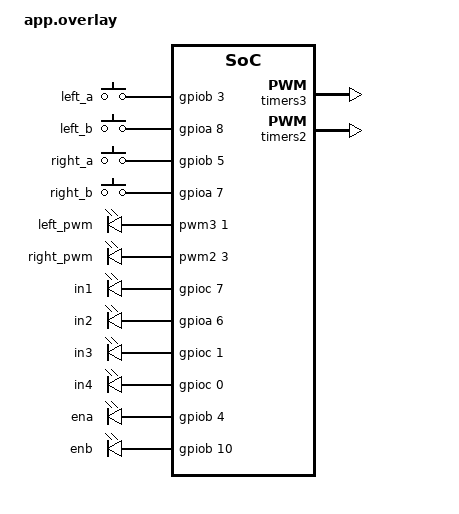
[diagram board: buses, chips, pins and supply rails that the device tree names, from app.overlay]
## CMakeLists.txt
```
cmake_minimum_required(VERSION 3.20.0)
find_package(Zephyr REQUIRED HINTS $ENV{ZEPHYR_BASE})
project(motor_bench)
target_sources(app PRIVATE src/main.c src/bench_control.c src/bench_encoders.c src/velocity_control.c)
# Startup and HOLD diagnostic profiles are fixed per image; PID controls duty at runtime.
set(MOTOR_TEST_DUTY "60" CACHE STRING "Startup-test duty percent, 1..100")
if(NOT MOTOR_TEST_DUTY MATCHES "^[1-9][0-9]?$|^100$")
  message(FATAL_ERROR "MOTOR_TEST_DUTY must be an integer from 1 to 100")
endif()
target_compile_definitions(app PRIVATE BENCH_DUTY_PERCENT=${MOTOR_TEST_DUTY}U)
set(MOTOR_HOLD_DUTY "55" CACHE STRING "Holding-test duty percent, 1..100")
if(NOT MOTOR_HOLD_DUTY MATCHES "^[1-9][0-9]?$|^100$")
  message(FATAL_ERROR "MOTOR_HOLD_DUTY must be an integer from 1 to 100")
endif()
set(MOTOR_HOLD_MS "2000" CACHE STRING "Holding-test limit, 2000 or 4000 ms")
if(NOT MOTOR_HOLD_MS MATCHES "^(2000|4000)$")
  message(FATAL_ERROR "MOTOR_HOLD_MS must be 2000 or 4000")
endif()
target_compile_definitions(app PRIVATE BENCH_HOLD_PERCENT=${MOTOR_HOLD_DUTY}U
                                       BENCH_HOLD_MS=${MOTOR_HOLD_MS})
```

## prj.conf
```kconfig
CONFIG_GPIO=y
CONFIG_PWM=y
# PID math and telemetry conversion run in separate threads on the Cortex-M4F.
CONFIG_FPU=y
CONFIG_FPU_SHARING=y
CONFIG_SERIAL=y
CONFIG_UART_INTERRUPT_DRIVEN=y
CONFIG_CONSOLE=y
CONFIG_UART_CONSOLE=y
CONFIG_PRINTK=y
CONFIG_MAIN_STACK_SIZE=2048
# Lower scheduling precedence than the priority-2 motor cutoff thread.
CONFIG_MAIN_THREAD_PRIORITY=5
CONFIG_I2C=n
CONFIG_SPI=n
CONFIG_ADC=n
CONFIG_INPUT=n
```

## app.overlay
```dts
#include <zephyr/dt-bindings/gpio/gpio.h>
#include <zephyr/dt-bindings/pwm/pwm.h>

/ {
    encoder_inputs {
        compatible = "gpio-keys";
        left_a: left_a { gpios = <&gpiob 3 GPIO_PULL_UP>; };
        left_b: left_b { gpios = <&gpioa 8 GPIO_PULL_UP>; };
        right_a: right_a { gpios = <&gpiob 5 GPIO_PULL_UP>; };
        right_b: right_b { gpios = <&gpioa 7 GPIO_PULL_UP>; };
    };
    bench_pwm {
        compatible = "pwm-leds";
        left_pwm: left { pwms = <&pwm3 1 PWM_USEC(100) PWM_POLARITY_NORMAL>; };
        right_pwm: right { pwms = <&pwm2 3 PWM_USEC(100) PWM_POLARITY_NORMAL>; };
    };
    bench_gpio {
        compatible = "gpio-leds";
        in1: in1 { gpios = <&gpioc 7 GPIO_ACTIVE_HIGH>; };
        in2: in2 { gpios = <&gpioa 6 GPIO_ACTIVE_HIGH>; };
        in3: in3 { gpios = <&gpioc 1 GPIO_ACTIVE_HIGH>; };
        in4: in4 { gpios = <&gpioc 0 GPIO_ACTIVE_HIGH>; };
        ena: ena { gpios = <&gpiob 4 GPIO_ACTIVE_HIGH>; };
        enb: enb { gpios = <&gpiob 10 GPIO_ACTIVE_HIGH>; };
    };
};

/* Only ST-LINK USART2 is used. Release encoder pins from other peripherals;
 * leave the servo signal alone. */
&usart1 { status = "disabled"; };
&i2c1 { status = "disabled"; };
&i2c3 { status = "disabled"; };
&spi1 { status = "disabled"; };
&spi2 { status = "disabled"; };
&adc1 { status = "disabled"; };

/* Internal pulldowns apply only once pinctrl initializes: not reset protection. */
&tim3_ch1_pb4 { bias-pull-down; };
&tim2_ch3_pb10 { bias-pull-down; };

&timers3 {
    status = "okay";
    pwm3: pwm {
        status = "okay";
        pinctrl-0 = <&tim3_ch1_pb4>;
        pinctrl-names = "default";
    };
};
&timers2 {
    status = "okay";
    pwm2: pwm {
        status = "okay";
        pinctrl-0 = <&tim2_ch3_pb10>;
        pinctrl-names = "default";
    };
};
```

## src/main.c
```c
#include <errno.h>
#include <string.h>
#include <zephyr/drivers/gpio.h>
#include <zephyr/drivers/pwm.h>
#include <zephyr/drivers/uart.h>
#include <zephyr/kernel.h>
#include <zephyr/sys/atomic.h>
#include <zephyr/sys/printk.h>
#include "bench_control.h"
#include "bench_encoders.h"

#define CONTROL_PRIORITY 2
BUILD_ASSERT(CONFIG_MAIN_THREAD_PRIORITY > CONTROL_PRIORITY,
             "Console must run below the motor cutoff thread priority");

static const struct pwm_dt_spec pwms[] = {
    PWM_DT_SPEC_GET(DT_NODELABEL(left_pwm)),
    PWM_DT_SPEC_GET(DT_NODELABEL(right_pwm)),
};
static const struct gpio_dt_spec directions[] = {
    GPIO_DT_SPEC_GET(DT_NODELABEL(in1), gpios),
    GPIO_DT_SPEC_GET(DT_NODELABEL(in2), gpios),
    GPIO_DT_SPEC_GET(DT_NODELABEL(in3), gpios),
    GPIO_DT_SPEC_GET(DT_NODELABEL(in4), gpios),
};
static const struct gpio_dt_spec enables[] = {
    GPIO_DT_SPEC_GET(DT_NODELABEL(ena), gpios),
    GPIO_DT_SPEC_GET(DT_NODELABEL(enb), gpios),
};
/* NUCLEO-F401RE B1 is sw0 / PC13, active low in the board devicetree. */
static const struct gpio_dt_spec user_button = GPIO_DT_SPEC_GET(DT_ALIAS(sw0), gpios);
static struct gpio_callback button_callback;
static atomic_t button_latched;
static int button_level;
static const struct device *const console = DEVICE_DT_GET(DT_CHOSEN(zephyr_console));

struct command { char text[16]; int64_t received_ms; };
K_MSGQ_DEFINE(commands, sizeof(struct command), 4, 8);
K_MSGQ_DEFINE(rx_bytes, sizeof(unsigned char), 128, 1);
static atomic_t rx_failed;
static atomic_t stop_requested;
static atomic_t hardware_fault;
static atomic_t accepted;
static atomic_t rejected;
static struct k_spinlock snapshot_lock;
enum sample_stage { SAMPLE_OFF, SAMPLE_PULSE, SAMPLE_KICK, SAMPLE_HOLD, SAMPLE_PID };
static const char *const phase_names[] = {"IDLE", "ARMED", "LEFT", "RIGHT", "BOTH"};
static struct {
    enum bench_phase phase;
    enum sample_stage stage;
    struct bench_output output;
    struct bench_encoder_sample encoder;
    int fault;
    unsigned target_rpm;
    struct velocity_control velocity;
} reported;

/* F401 USART has no deep RX FIFO: sleeping/polling loses a burst at 115200.
 * Capture every byte in the ISR; parse and print only from the main thread. */
static void console_rx(const struct device *dev, void *user_data)
{
    ARG_UNUSED(user_data);
    while (uart_irq_update(dev) && uart_irq_rx_ready(dev)) {
        unsigned char byte;
        int count = uart_fifo_read(dev, &byte, 1);
        if (count <= 0) {
            if (count < 0) {
                atomic_set(&rx_failed, 1);
                atomic_set(&stop_requested, 1);
            }
            break;
        }
        if (!atomic_get(&rx_failed) &&
            k_msgq_put(&rx_bytes, &byte, K_NO_WAIT) != 0) {
            atomic_set(&rx_failed, 1);
            atomic_set(&stop_requested, 1);
        }
    }
    if (uart_err_check(dev)) {
        atomic_set(&rx_failed, 1);
        atomic_set(&stop_requested, 1);
    }
}

/* Capture even a short B1 press. The priority-2 thread also polls its level. */
static void button_pressed(const struct device *dev, struct gpio_callback *cb, uint32_t pins)
{
    ARG_UNUSED(dev); ARG_UNUSED(cb); ARG_UNUSED(pins);
    atomic_set(&button_latched, 1);
}

/* Arm B1 before starting the motor thread; failure leaves the enables low. */
static int button_init(void)
{
    if (!gpio_is_ready_dt(&user_button)) { return -ENODEV; }
    int ret = gpio_pin_configure_dt(&user_button, GPIO_INPUT | GPIO_PULL_UP);
    if (ret < 0) { return ret; }
    gpio_init_callback(&button_callback, button_pressed, BIT(user_button.pin));
    ret = gpio_add_callback(user_button.port, &button_callback);
    if (ret < 0) { return ret; }
    return gpio_pin_interrupt_configure_dt(&user_button, GPIO_INT_EDGE_TO_ACTIVE);
}

/* On a HAL failure latch the test off. Reclaim enable pins as GPIO-low too;
 * never resume PWM after this until reboot. Returns an error if this also fails. */
static int force_off(void)
{
    int first_error = 0;
    for (size_t i = 0; i < ARRAY_SIZE(enables); ++i) {
        int ret = gpio_pin_configure_dt(&enables[i], GPIO_OUTPUT_INACTIVE);
        if (ret < 0 && first_error == 0) { first_error = ret; }
    }
    for (size_t i = 0; i < ARRAY_SIZE(directions); ++i) {
        int ret = gpio_pin_configure_dt(&directions[i], GPIO_OUTPUT_INACTIVE);
        if (ret < 0 && first_error == 0) { first_error = ret; }
    }
    return first_error;
}

static int outputs_init(void)
{
    for (size_t i = 0; i < ARRAY_SIZE(enables); ++i) {
        if (!gpio_is_ready_dt(&enables[i]) || !pwm_is_ready_dt(&pwms[i])) {
            return -ENODEV;
        }
    }
    /* PWM pinctrl has already selected the timer alternate functions. */
    int first_error = 0;
    for (size_t i = 0; i < ARRAY_SIZE(pwms); ++i) {
        int ret = pwm_set_dt(&pwms[i], pwms[i].period, 0);
        if (ret < 0 && first_error == 0) { first_error = ret; }
    }
    for (size_t i = 0; i < ARRAY_SIZE(directions); ++i) {
        if (!gpio_is_ready_dt(&directions[i])) { return -ENODEV; }
        int ret = gpio_pin_configure_dt(&directions[i], GPIO_OUTPUT_INACTIVE);
        if (ret < 0 && first_error == 0) { first_error = ret; }
    }
    return first_error;
}

static int apply_output(struct bench_output output)
{
    /* Disable both channels before changing any direction state. */
    int first_error = 0;
    for (size_t i = 0; i < ARRAY_SIZE(pwms); ++i) {
        int ret = pwm_set_dt(&pwms[i], pwms[i].period, 0);
        if (ret < 0 && first_error == 0) { first_error = ret; }
    }
    if (first_error) { return first_error; }
    /* Settle for one 10 kHz period before direction changes. */
    k_busy_wait(100);
    /* Forward polarities: reverse LEFT relative to the original raw test. */
    int values[] = {0, output.left_percent ? 1 : 0,
                    output.right_percent ? 1 : 0, 0};
    for (size_t i = 0; i < ARRAY_SIZE(directions); ++i) {
        int ret = gpio_pin_set_dt(&directions[i], values[i]);
        if (ret < 0) { return ret; }
    }
    float duties[] = {output.left_percent, output.right_percent};
    for (size_t i = 0; i < ARRAY_SIZE(pwms); ++i) {
        if (duties[i]) {
            int ret = pwm_set_dt(&pwms[i], pwms[i].period,
                                 (uint32_t)((float)pwms[i].period * duties[i] / 100.0f));
            if (ret < 0) { return ret; }
        }
    }
    return 0;
}

static void control_thread(void *a, void *b, void *c)
{
    ARG_UNUSED(a); ARG_UNUSED(b); ARG_UNUSED(c);
    struct bench_control control;
    struct bench_output applied = {0, 0};
    bench_init(&control);

    for (;;) {
        int pressed = gpio_pin_get_dt(&user_button);
        if (pressed < 0) { atomic_cas(&hardware_fault, 0, pressed); }
        if (pressed > 0) { atomic_set(&button_latched, 1); }
        bench_button_update(&control, atomic_get(&button_latched) != 0);
        if (atomic_get(&button_latched)) { k_msgq_purge(&commands); }
        if (atomic_set(&stop_requested, 0)) {
            (void)bench_command(&control, "STOP", k_uptime_get());
            k_msgq_purge(&commands);
        }
        struct command cmd;
        /* Keep observing coast-down even when a motion fault is latched. */
        struct bench_encoder_sample sample;
        int read_ret = bench_encoders_read(&sample);
        int64_t now = k_uptime_get();
        if (read_ret < 0 || sample.invalid[0] || sample.invalid[1]) {
            atomic_cas(&hardware_fault, 0, read_ret < 0 ? read_ret : -EILSEQ);
        } else if (!atomic_get(&hardware_fault)) {
            bench_encoder_update(&control, sample.counts[0], sample.counts[1], sample.time_ms);
        }
        if (k_msgq_get(&commands, &cmd, K_NO_WAIT) == 0) {
            if (atomic_get(&hardware_fault) || now - cmd.received_ms > 250 ||
                !bench_command(&control, cmd.text, now)) {
                (void)bench_command(&control, "STOP", now);
                atomic_inc(&rejected);
            } else {
                atomic_inc(&accepted);
            }
        }
        int64_t tick_ms = k_uptime_get();
        /* Recheck the IRQ latch after command handling; queued commands cannot
         * re-enable an output after a button event. */
        bench_button_update(&control, atomic_get(&button_latched) != 0);
        struct bench_output output = bench_tick(&control, tick_ms);
        if (control.fault != BENCH_OK) {
            atomic_cas(&hardware_fault, 0, control.fault);
        }
        if (atomic_get(&hardware_fault)) {
            (void)bench_command(&control, "STOP", k_uptime_get());
            output = (struct bench_output){0, 0};
        }
        if (output.left_percent != applied.left_percent ||
            output.right_percent != applied.right_percent) {
            int ret = apply_output(output);
            if (ret < 0) {
                int off_ret = force_off();
                atomic_set(&hardware_fault, off_ret < 0 ? off_ret : ret);
                (void)bench_command(&control, "STOP", k_uptime_get());
                output = (struct bench_output){0, 0};
            }
            applied = output;
        }
        k_spinlock_key_t key = k_spin_lock(&snapshot_lock);
        reported.phase = control.phase;
        reported.output = applied;
        reported.encoder = sample;
        reported.fault = atomic_get(&hardware_fault);
        reported.stage = (control.phase == BENCH_IDLE || control.phase == BENCH_ARMED) ? SAMPLE_OFF :
            !(control.hold_test || control.pid_test) ? SAMPLE_PULSE :
            tick_ms < control.hold_at_ms ? SAMPLE_KICK : control.pid_test ? SAMPLE_PID : SAMPLE_HOLD;
        reported.target_rpm = control.target_rpm;
        reported.velocity = control.velocity;
        button_level = pressed;
        k_spin_unlock(&snapshot_lock, key);
        /* This high-priority thread never logs or waits on console input. */
        k_msleep(1);
    }
}
K_THREAD_DEFINE(control_tid, 2304, control_thread, NULL, NULL, NULL,
                CONTROL_PRIORITY, K_FP_REGS, SYS_FOREVER_MS);

static void status_print(void)
{
    k_spinlock_key_t key = k_spin_lock(&snapshot_lock);
    struct bench_output output = reported.output;
    enum bench_phase phase = reported.phase;
    int b1 = button_level;
    k_spin_unlock(&snapshot_lock, key);
    int pins[6];
    for (size_t i = 0; i < ARRAY_SIZE(directions); ++i) {
        pins[i] = gpio_pin_get_dt(&directions[i]);
    }
    pins[4] = gpio_pin_get_dt(&enables[0]);
    pins[5] = gpio_pin_get_dt(&enables[1]);
    for (size_t i = 0; i < ARRAY_SIZE(pins); ++i) {
        if (pins[i] < 0) {
            atomic_set(&hardware_fault, pins[i]);
            atomic_set(&stop_requested, 1);
        }
    }
    printk("MOTOR phase=%s left=%u right=%u in=%d%d%d%d en=%d%d "
           "fault=%ld accepted=%ld rejected=%ld\n", phase_names[phase],
           (unsigned)(output.left_percent + 0.5f), (unsigned)(output.right_percent + 0.5f),
           pins[0], pins[1], pins[2], pins[3], pins[4], pins[5],
           (long)atomic_get(&hardware_fault), (long)atomic_get(&accepted),
           (long)atomic_get(&rejected));
    printk("BUTTON b1=%d latched=%ld\n", b1, (long)atomic_get(&button_latched));
}

static void encoder_print(void)
{
    struct bench_encoder_sample sample;
    int ret = bench_encoders_read(&sample);
    if (ret < 0) {
        atomic_set(&hardware_fault, ret);
        atomic_set(&stop_requested, 1);
    }
    printk("ENC left=%ld right=%ld left_ab=%d%d right_ab=%d%d "
           "invalid_left=%u invalid_right=%u errors=%u\n",
           (long)sample.counts[0], (long)sample.counts[1],
           (sample.ab[0] >> 1) & 1, sample.ab[0] & 1,
           (sample.ab[1] >> 1) & 1, sample.ab[1] & 1,
           (unsigned)sample.invalid[0], (unsigned)sample.invalid[1],
           (unsigned)sample.errors);
}

/* A coherent control snapshot supplies MCU time, applied duty and raw counts.
 * No printing or host timestamps enter the high-priority cutoff loop. */
static void sample_print(void)
{
    static const char *const stages[] = {"OFF", "PULSE", "KICK", "HOLD", "PID"};
    k_spinlock_key_t key = k_spin_lock(&snapshot_lock);
    struct bench_encoder_sample encoder = reported.encoder;
    struct bench_output output = reported.output;
    enum bench_phase phase = reported.phase;
    enum sample_stage stage = reported.stage;
    int fault = reported.fault;
    unsigned target_rpm = reported.target_rpm;
    struct velocity_control velocity = reported.velocity;
    k_spin_unlock(&snapshot_lock, key);
    printk("SAMPLE t_ms=%lld stage=%s phase=%s left_pct=%u right_pct=%u "
           "left=%ld right=%ld invalid_left=%u invalid_right=%u errors=%u fault=%d\n",
           (long long)encoder.time_ms, stages[stage], phase_names[phase],
           (unsigned)(output.left_percent + 0.5f), (unsigned)(output.right_percent + 0.5f),
           (long)encoder.counts[0], (long)encoder.counts[1],
           (unsigned)encoder.invalid[0], (unsigned)encoder.invalid[1],
           (unsigned)encoder.errors, fault);
    if (target_rpm) {
        /* Milli-RPM and milli-percentage-points keep printf integer-only. Use
         * the estimator timestamp, not the newer raw SAMPLE timestamp. */
        printk("PID t_ms=%lld target=%u left_mrpm=%d right_mrpm=%d avg_mrpm=%d "
               "left_mduty=%d right_mduty=%d p=%d i=%d d=%d trim=%d\n",
               (long long)velocity.sample_ms, target_rpm,
               (int)(velocity.rpm[0] * 1000), (int)(velocity.rpm[1] * 1000),
               (int)(velocity.average_rpm * 1000),
               (int)(output.left_percent * 1000), (int)(output.right_percent * 1000),
               (int)(velocity.p_term * 1000), (int)(velocity.i_term * 1000),
               (int)(velocity.d_term * 1000), 0 /* Legacy trim field; no balancing controller. */);
    }
}

/* Report the compiled limits at boot and on STATUS before a host arms a test. */
static void profile_print(void)
{
    printk("MOTOR BENCH: idle at boot; 10kHz; one-shot %u%% / %dms.\n",
           BENCH_DUTY_PERCENT, BENCH_PULSE_MS);
    printk("HOLD BENCH: 10kHz; kick=%u%%/%dms hold=%u%%/%dms; LEFT/RIGHT/BOTH.\n",
           BENCH_KICK_PERCENT, BENCH_PULSE_MS, BENCH_HOLD_PERCENT, BENCH_HOLD_MS);
    printk("PID_PROFILE min_duty=%u max_duty=%u run_ms=%u sample_ms=%u cpr=%u "
           "kp_milli=%u ki_milli=%u kd_milli=%u filter_ms=%u stop=B1 motion_guard=0\n",
           (unsigned)VELOCITY_RUN_MIN_DUTY, (unsigned)VELOCITY_MAX_DUTY,
           BENCH_PID_MS, VELOCITY_PERIOD_MS, (unsigned)VELOCITY_COUNTS_PER_REV,
           (unsigned)(VELOCITY_KP * 1000 + 0.5f), (unsigned)(VELOCITY_KI * 1000 + 0.5f),
           (unsigned)(VELOCITY_KD * 1000 + 0.5f),
           (unsigned)(VELOCITY_FILTER_SECONDS * 1000 + 0.5f));
}

int main(void)
{
    int ret = outputs_init();
    if (ret < 0 || !device_is_ready(console)) {
        int off_ret = force_off();
        printk("ERROR motor initialization=%d emergency_gpio_off=%d\n", ret, off_ret);
        return ret < 0 ? ret : -ENODEV;
    }
    ret = button_init();
    if (ret < 0) {
        int off_ret = force_off();
        printk("ERROR B1 initialization=%d emergency_gpio_off=%d\n", ret, off_ret);
        return ret;
    }
    ret = bench_encoders_init();
    if (ret < 0) {
        int off_ret = force_off();
        printk("ERROR encoder initialization=%d emergency_gpio_off=%d\n", ret, off_ret);
        return ret;
    }
    ret = uart_irq_callback_user_data_set(console, console_rx, NULL);
    if (ret < 0) {
        int off_ret = force_off();
        printk("ERROR console RX setup=%d emergency_gpio_off=%d\n", ret, off_ret);
        return ret;
    }
    uart_irq_rx_enable(console);
    k_thread_start(control_tid);
    profile_print();
    printk("STARTUP/HOLD: per-wheel 150ms motion cutoff. PID: no motion cutoff or duration cap.\n");
    printk("SCHED control=%d console=%d (lower number runs first).\n",
           CONTROL_PRIORITY, CONFIG_MAIN_THREAD_PRIORITY);
    printk("Commands: STATUS, STOP, ARM then LEFT/RIGHT/BOTH, HOLDLEFT/HOLDRIGHT/HOLDBOTH or PID <positive integer RPM> within 5s; PID 0 stops.\n");
    printk("Forward bridge polarity: LEFT IN=01; RIGHT IN=10.\n");
    printk("PID runs continuously. B1 stops both and latches off until reset.\n");
    printk("Faults: 1=left-stall 2=right-stall 3=left-reversed 4=right-reversed 5=PID-data 6=B1-stop; negative=HAL/encoder.\n");
    printk("ENCODERS: raw x4 counts; calibrated forward signs left=-1 right=+1.\n");

    char line[16];
    size_t used = 0;
    bool discard = false;
    int64_t line_started = 0;
    int64_t next_report = 0;
    for (;;) {
        int64_t now = k_uptime_get();
        if ((used || discard) && now - line_started >= 1000) {
            used = 0;
            discard = false;
            atomic_set(&stop_requested, 1);
        }
        if (atomic_get(&rx_failed)) {
            k_msgq_purge(&rx_bytes);
            used = 0;
            discard = true;
            line_started = now;
            atomic_inc(&rejected);
            atomic_set(&stop_requested, 1);
            atomic_clear(&rx_failed);
        }
        /* Limit work per pass even if serial traffic is continuous. */
        for (unsigned i = 0; i < 32; ++i) {
            unsigned char ch;
            if (k_msgq_get(&rx_bytes, &ch, K_NO_WAIT) != 0) { break; }
            if (ch == '\r') { continue; }
            if (ch == '\n') {
                if (used && !discard) {
                    line[used] = '\0';
                    if (strcmp(line, "STOP") == 0 || strcmp(line, "PID 0") == 0) {
                        atomic_set(&stop_requested, 1);
                    } else if (strcmp(line, "STATUS") == 0) {
                        profile_print();
                    } else {
                        struct command cmd = {.received_ms = k_uptime_get()};
                        memcpy(cmd.text, line, used + 1);
                        if (k_msgq_put(&commands, &cmd, K_NO_WAIT) != 0) {
                            atomic_inc(&rejected);
                            atomic_set(&stop_requested, 1);
                        }
                    }
                }
                used = 0;
                discard = false;
            } else if (!discard) {
                if (!used) { line_started = k_uptime_get(); }
                if (ch < 32 || ch > 126 || used == sizeof(line) - 1) {
                    discard = true;
                    atomic_inc(&rejected);
                    atomic_set(&stop_requested, 1);
                } else {
                    line[used++] = (char)ch;
                }
            }
        }
        if (now >= next_report) {
            status_print();
            k_spinlock_key_t key = k_spin_lock(&snapshot_lock);
            bool pid_active = reported.target_rpm != 0;
            k_spin_unlock(&snapshot_lock, key);
            /* SAMPLE includes raw encoder diagnostics. Skip the redundant ENC
             * line during PID to leave room on the 115200-baud console. */
            if (!pid_active) { encoder_print(); }
            sample_print();
            /* Observe motion without delaying the priority-2 control thread. */
            next_report = now + 50;
        }
        k_msleep(1);
    }
}
```

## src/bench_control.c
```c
#include "bench_control.h"
#include <string.h>
#include <limits.h>

static bool powered(const struct bench_control *control, unsigned wheel)
{
    return control->phase == BENCH_BOTH ||
           control->phase == (wheel == 0 ? BENCH_LEFT : BENCH_RIGHT);
}

static void disarm(struct bench_control *control)
{
    control->phase = BENCH_IDLE;
    control->deadline_ms = 0;
    control->hold_test = false;
    control->pid_test = false;
    control->target_rpm = 0;
    velocity_init(&control->velocity, control->counts[0], control->counts[1], 0);
    control->hold_at_ms = 0;
}

static void trip(struct bench_control *control, enum bench_fault fault)
{
    control->fault = fault;
    disarm(control);
}

void bench_init(struct bench_control *control)
{
    *control = (struct bench_control){.phase = BENCH_IDLE};
}

struct bench_output bench_tick(struct bench_control *control, int64_t now_ms)
{
    if (control->fault != BENCH_OK ||
        (control->phase != BENCH_IDLE && !control->pid_test && now_ms >= control->deadline_ms)) {
        disarm(control);
    }
    for (unsigned i = 0; i < 2; ++i) {
        if (!control->pid_test && powered(control, i) && now_ms - control->progress_ms[i] >= BENCH_STALL_MS) {
            trip(control, i == 0 ? BENCH_LEFT_STALL : BENCH_RIGHT_STALL);
            break;
        }
    }
    if (control->pid_test) {
        if (now_ms < control->hold_at_ms) {
            return (struct bench_output){BENCH_KICK_PERCENT, BENCH_KICK_PERCENT};
        }
        return (struct bench_output){
            control->velocity.regulating ? control->velocity.command[0] : BENCH_KICK_PERCENT,
            control->velocity.regulating ? control->velocity.command[1] : BENCH_KICK_PERCENT,
        };
    }
    unsigned duty = control->hold_test ?
        (now_ms < control->hold_at_ms ? BENCH_KICK_PERCENT : BENCH_HOLD_PERCENT) :
        BENCH_DUTY_PERCENT;
    return (struct bench_output){
        .left_percent = powered(control, 0) ? duty : 0U,
        .right_percent = powered(control, 1) ? duty : 0U,
    };
}

void bench_encoder_update(struct bench_control *control, int32_t left,
                          int32_t right, int64_t now_ms)
{
    (void)bench_tick(control, now_ms);
    int32_t counts[] = {left, right};
    for (unsigned i = 0; i < 2; ++i) {
        control->counts[i] = counts[i];
        /* Manual PID load tests deliberately permit a held/backdriven wheel.
         * Retain motion cutoffs only for the startup/fixed-duty diagnostics. */
        if (!powered(control, i) || control->pid_test) {
            control->anchors[i] = counts[i];
            continue;
        }
        int64_t delta = (int64_t)counts[i] - control->anchors[i];
        int64_t forward = i == 0 ? -delta : delta;
        if (forward <= -BENCH_PROGRESS_COUNTS) {
            trip(control, i == 0 ? BENCH_LEFT_REVERSED : BENCH_RIGHT_REVERSED);
        } else if (forward >= BENCH_PROGRESS_COUNTS) {
            control->anchors[i] = counts[i];
            control->progress_ms[i] = now_ms;
        }
    }
    if (control->pid_test && velocity_update(&control->velocity, left, right,
            now_ms, (float)control->target_rpm, now_ms >= control->hold_at_ms) < 0) {
        trip(control, BENCH_VELOCITY_FAULT);
    }
}

void bench_button_update(struct bench_control *control, bool pressed)
{
    if (pressed && control->fault == BENCH_OK) { trip(control, BENCH_USER_STOP); }
}

bool bench_command(struct bench_control *control, const char *command, int64_t now_ms)
{
    (void)bench_tick(control, now_ms);
    if (strcmp(command, "STOP") == 0 || strcmp(command, "PID 0") == 0) {
        disarm(control);
        return true;
    }
    if (control->fault != BENCH_OK) {
        disarm(control);
        return false;
    }
    if (strcmp(command, "ARM") == 0 && control->phase == BENCH_IDLE) {
        control->phase = BENCH_ARMED;
        control->deadline_ms = now_ms + 5000;
        return true;
    }
    bool hold_left = strcmp(command, "HOLDLEFT") == 0;
    bool hold_right = strcmp(command, "HOLDRIGHT") == 0;
    bool hold_both = strcmp(command, "HOLDBOTH") == 0;
    unsigned target = 0;
    bool pid = strncmp(command, "PID ", 4) == 0 && command[4] != '\0';
    if (pid) {
        for (const char *digit = command + 4; *digit; ++digit) {
            if (*digit < '0' || *digit > '9' || target > (UINT_MAX - (unsigned)(*digit - '0')) / 10U) {
                pid = false;
                break;
            }
            target = target * 10U + (unsigned)(*digit - '0');
        }
    }
    pid = pid && target > 0;
    if (control->phase == BENCH_ARMED &&
        (strcmp(command, "LEFT") == 0 || strcmp(command, "RIGHT") == 0 ||
         strcmp(command, "BOTH") == 0 || hold_left || hold_right || hold_both || pid)) {
        control->phase = (strcmp(command, "LEFT") == 0 || hold_left) ? BENCH_LEFT :
                         (strcmp(command, "RIGHT") == 0 || hold_right) ? BENCH_RIGHT : BENCH_BOTH;
        control->hold_test = hold_left || hold_right || hold_both;
        control->pid_test = pid;
        control->target_rpm = pid ? target : 0;
        if (pid) {
            velocity_init(&control->velocity, control->counts[0], control->counts[1], now_ms);
        }
        control->hold_at_ms = now_ms + BENCH_PULSE_MS;
        control->deadline_ms = pid ? 0 : control->hold_at_ms +
            (control->hold_test ? BENCH_HOLD_MS : 0);
        for (unsigned i = 0; i < 2; ++i) {
            control->anchors[i] = control->counts[i];
            control->progress_ms[i] = now_ms;
        }
        return true;
    }
    /* Malformed, unarmed, duplicate, or retrigger commands disarm and stop. */
    disarm(control);
    return false;
}
```

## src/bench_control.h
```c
#ifndef BENCH_CONTROL_H
#define BENCH_CONTROL_H

#include <stdbool.h>
#include <stdint.h>
#include "velocity_control.h"

/* Explicitly armed forward trial; changing limits requires rebuild/reflash. */
#ifndef BENCH_DUTY_PERCENT
#define BENCH_DUTY_PERCENT 60U
#endif
_Static_assert(BENCH_DUTY_PERCENT >= 1 && BENCH_DUTY_PERCENT <= 100,
               "Bench duty must be 1..100 percent");
#define BENCH_PULSE_MS 200
/* Zero in the reported PID profile means continuous, not a zero-length trial. */
#define BENCH_PID_MS 0
/* Hold commands always start with a 60% kick; each enabled wheel is guarded. */
#define BENCH_KICK_PERCENT VELOCITY_START_DUTY
#ifndef BENCH_HOLD_MS
#define BENCH_HOLD_MS 2000
#endif
_Static_assert(BENCH_HOLD_MS == 2000 || BENCH_HOLD_MS == 4000,
               "Hold duration must be 2000 or 4000 ms");
#ifndef BENCH_HOLD_PERCENT
#define BENCH_HOLD_PERCENT 55U
#endif
_Static_assert(BENCH_HOLD_PERCENT >= 1 && BENCH_HOLD_PERCENT <= 100,
               "Hold duty must be 1..100 percent");
#define BENCH_STALL_MS 150
#define BENCH_PROGRESS_COUNTS 4

/* Isolated bench protocol, NOT the Pi/STM32 Part 2 protocol. */
enum bench_phase { BENCH_IDLE, BENCH_ARMED, BENCH_LEFT, BENCH_RIGHT, BENCH_BOTH };
enum bench_fault {
    BENCH_OK, BENCH_LEFT_STALL, BENCH_RIGHT_STALL,
    BENCH_LEFT_REVERSED, BENCH_RIGHT_REVERSED, BENCH_VELOCITY_FAULT, BENCH_USER_STOP
};
struct bench_control {
    enum bench_phase phase;
    enum bench_fault fault;
    int64_t deadline_ms;
    bool hold_test;
    bool pid_test;
    unsigned target_rpm;
    struct velocity_control velocity;
    int64_t hold_at_ms;
    int32_t counts[2];
    int32_t anchors[2];
    int64_t progress_ms[2];
};
struct bench_output {
    float left_percent;
    float right_percent;
};

/* Boot/reset only. STOP does not clear a latched motion fault. */
void bench_init(struct bench_control *control);
/* Raw calibrated counts: left must decrease forward, right must increase. */
void bench_encoder_update(struct bench_control *control, int32_t left,
                          int32_t right, int64_t now_ms);
/* B1 press latches both outputs off until reset, including queued/held ARM. */
void bench_button_update(struct bench_control *control, bool pressed);
bool bench_command(struct bench_control *control, const char *command, int64_t now_ms);
struct bench_output bench_tick(struct bench_control *control, int64_t now_ms);

#endif
```

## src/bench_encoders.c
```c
/* Decoder reused from the independently hand-turn-verified encoder_test. */
#include <errno.h>
#include <stdint.h>
#include <zephyr/drivers/gpio.h>
#include <zephyr/kernel.h>
#include "bench_encoders.h"

struct encoder {
    struct gpio_dt_spec a;
    struct gpio_dt_spec b;
    struct gpio_callback callback_a;
    struct gpio_callback callback_b;
    uint8_t previous;
    int32_t count;
    uint32_t invalid;
    uint32_t errors;
};

static struct encoder encoders[] = {
    {.a = GPIO_DT_SPEC_GET(DT_NODELABEL(left_a), gpios),
     .b = GPIO_DT_SPEC_GET(DT_NODELABEL(left_b), gpios)},
    {.a = GPIO_DT_SPEC_GET(DT_NODELABEL(right_a), gpios),
     .b = GPIO_DT_SPEC_GET(DT_NODELABEL(right_b), gpios)},
};
static struct k_spinlock counter_lock;

/* Four counts per complete A/B cycle. Positive: 00 -> 01 -> 11 -> 10 -> 00.
 * Physical vehicle-forward polarity is deliberately not assumed here. */
static const int8_t step[16] = {
     0,  1, -1,  0,
    -1,  0,  0,  1,
     1,  0,  0, -1,
     0, -1,  1,  0,
};

static int read_ab(const struct encoder *encoder)
{
    int a = gpio_pin_get_dt(&encoder->a);
    int b = gpio_pin_get_dt(&encoder->b);

    if (a < 0) {
        return a;
    }
    if (b < 0) {
        return b;
    }
    return (a << 1) | b;
}

static void on_edge(const struct device *port, struct gpio_callback *callback,
                    gpio_port_pins_t pins)
{
    ARG_UNUSED(port);
    ARG_UNUSED(pins);

    for (size_t i = 0; i < ARRAY_SIZE(encoders); ++i) {
        struct encoder *encoder = &encoders[i];
        if (callback != &encoder->callback_a && callback != &encoder->callback_b) {
            continue;
        }

        k_spinlock_key_t key = k_spin_lock(&counter_lock);
        int current = read_ab(encoder);
        if (current < 0) {
            encoder->errors++;
        } else {
            /* Both bits changing means an edge was missed or signals are noisy.
             * Record the fault and resync without inventing movement. */
            if ((encoder->previous ^ current) == 3) {
                encoder->invalid++;
            } else {
                encoder->count += step[(encoder->previous << 2) | current];
            }
            encoder->previous = (uint8_t)current;
        }
        k_spin_unlock(&counter_lock, key);
        return;
    }
}

static int init_encoder(struct encoder *encoder)
{
    if (!gpio_is_ready_dt(&encoder->a) || !gpio_is_ready_dt(&encoder->b)) {
        return -ENODEV;
    }
    int ret = gpio_pin_configure_dt(&encoder->a, GPIO_INPUT);
    if (ret < 0) {
        return ret;
    }
    ret = gpio_pin_configure_dt(&encoder->b, GPIO_INPUT);
    if (ret < 0) {
        return ret;
    }

    int initial = read_ab(encoder);
    if (initial < 0) {
        return initial;
    }
    encoder->previous = (uint8_t)initial;
    gpio_init_callback(&encoder->callback_a, on_edge, BIT(encoder->a.pin));
    gpio_init_callback(&encoder->callback_b, on_edge, BIT(encoder->b.pin));
    ret = gpio_add_callback(encoder->a.port, &encoder->callback_a);
    if (ret < 0) {
        return ret;
    }
    ret = gpio_add_callback(encoder->b.port, &encoder->callback_b);
    if (ret < 0) {
        return ret;
    }
    ret = gpio_pin_interrupt_configure_dt(&encoder->a, GPIO_INT_EDGE_BOTH);
    if (ret < 0) {
        return ret;
    }
    return gpio_pin_interrupt_configure_dt(&encoder->b, GPIO_INT_EDGE_BOTH);
}

int bench_encoders_init(void)
{
    for (size_t i = 0; i < ARRAY_SIZE(encoders); ++i) {
        int ret = init_encoder(&encoders[i]);
        if (ret < 0) { return ret; }
    }
    return 0;
}

int bench_encoders_read(struct bench_encoder_sample *sample)
{
    sample->errors = 0;
    k_spinlock_key_t key = k_spin_lock(&counter_lock);
    sample->time_ms = k_uptime_get();
    for (size_t i = 0; i < ARRAY_SIZE(encoders); ++i) {
        sample->ab[i] = read_ab(&encoders[i]);
        if (sample->ab[i] < 0) { encoders[i].errors++; }
        sample->counts[i] = encoders[i].count;
        sample->invalid[i] = encoders[i].invalid;
        sample->errors += encoders[i].errors;
    }
    k_spin_unlock(&counter_lock, key);
    return sample->errors ? -EIO : 0;
}
```

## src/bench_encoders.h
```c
#ifndef BENCH_ENCODERS_H
#define BENCH_ENCODERS_H

#include <stdint.h>

/* Indices: 0=left, 1=right. Raw x4 counts, same convention as encoder_test.
 * Hand-turn calibration: vehicle-forward decreases left, increases right.
 * This module observes movement only; it does not provide stall protection. */
struct bench_encoder_sample {
    int64_t time_ms;
    int32_t counts[2];
    uint32_t invalid[2];
    uint32_t errors;
    int ab[2];
};

int bench_encoders_init(void);
/* Snapshot both counters under one lock; negative return on GPIO read errors. */
int bench_encoders_read(struct bench_encoder_sample *sample);

#endif
```

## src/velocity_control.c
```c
#include "velocity_control.h"
#include <math.h>

void velocity_init(struct velocity_control *control, int32_t left, int32_t right,
                   int64_t now_ms)
{
    /* Start the integral at the existing kick duty to avoid dropping to zero
     * when the controller takes over. Subsequent output is just P + I + D. */
    *control = (struct velocity_control){
        .sample_ms = now_ms, .previous_counts = {left, right},
        .i_term = VELOCITY_START_DUTY,
    };
}

/* Apply PID terms without changing encoder time, integral or derivative history. */
int velocity_retarget(struct velocity_control *control, float target_rpm)
{
    if (!isfinite(target_rpm) || target_rpm <= 0) {
        control->command[0] = control->command[1] = 0;
        return -1;
    }
    control->p_term = VELOCITY_KP * (target_rpm - control->average_rpm);
    float output = control->p_term + control->i_term + control->d_term;
    if (!isfinite(output)) {
        control->command[0] = control->command[1] = 0;
        return -1;
    }
    if (output < VELOCITY_RUN_MIN_DUTY) { output = VELOCITY_RUN_MIN_DUTY; }
    if (output > VELOCITY_MAX_DUTY) { output = VELOCITY_MAX_DUTY; }
    control->command[0] = control->command[1] = output;
    return 0;
}

int velocity_update(struct velocity_control *control, int32_t left, int32_t right,
                    int64_t now_ms, float target_rpm, bool regulate)
{
    int64_t elapsed = now_ms - control->sample_ms;
    if (!isfinite(target_rpm) || target_rpm <= 0 || elapsed < 0) {
        control->command[0] = control->command[1] = 0;
        return -1;
    }
    if (elapsed < VELOCITY_PERIOD_MS) { return 0; }
    float dt = (float)elapsed / 1000.0f;
    float previous_average = control->average_rpm;
    int32_t counts[] = {left, right};
    for (unsigned i = 0; i < 2; ++i) {
        int64_t delta = (int64_t)counts[i] - control->previous_counts[i];
        float raw_rpm = (float)(i == 0 ? -delta : delta) * 60.0f /
                        (VELOCITY_COUNTS_PER_REV * dt);
        if (!isfinite(raw_rpm)) {
            control->command[0] = control->command[1] = 0;
            return -1;
        }
        control->rpm[i] = control->measured ? control->rpm[i] +
            dt / (VELOCITY_FILTER_SECONDS + dt) * (raw_rpm - control->rpm[i]) : raw_rpm;
        control->previous_counts[i] = counts[i];
    }
    control->sample_ms = now_ms;
    control->measured = true;
    control->average_rpm = (control->rpm[0] + control->rpm[1]) * 0.5f;
    if (!regulate) {
        control->regulating = false;
        control->p_term = control->d_term = 0;
        control->command[0] = control->command[1] = 0;
        return 0;
    }
    float error = target_rpm - control->average_rpm;
    control->p_term = VELOCITY_KP * error;
    control->d_term = control->regulating ?
        -VELOCITY_KD * (control->average_rpm - previous_average) / dt : 0;
    float candidate_i = control->i_term + VELOCITY_KI * error * dt;
    float candidate = control->p_term + candidate_i + control->d_term;
    /* Anti-windup follows the user-selected sustaining floor and physical PWM
     * range. There is no separate arbitrary integral limit. */
    if (!((candidate > VELOCITY_MAX_DUTY && error > 0) ||
          (candidate < VELOCITY_RUN_MIN_DUTY && error < 0))) {
        control->i_term = candidate_i;
    }
    control->regulating = true;
    return velocity_retarget(control, target_rpm);
}
```

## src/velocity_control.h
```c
#ifndef VELOCITY_CONTROL_H
#define VELOCITY_CONTROL_H

#include <stdbool.h>
#include <stdint.h>

#define VELOCITY_COUNTS_PER_REV 1320.0f
#define VELOCITY_PERIOD_MS 20
/* User retains measured 40% sustaining floor and existing 60% startup kick. */
#define VELOCITY_START_DUTY 60U
#define VELOCITY_RUN_MIN_DUTY 40.0f
#define VELOCITY_MAX_DUTY 100.0f
#define VELOCITY_KP 0.12f
#define VELOCITY_KI 0.35f
#define VELOCITY_KD 0.003f
#define VELOCITY_FILTER_SECONDS 0.06f

/* One plain PID on average forward RPM; same output drives both wheels.
 * State is owned by the motor-control thread, copied only for telemetry. */
struct velocity_control {
    int64_t sample_ms;
    int32_t previous_counts[2];
    bool measured;
    bool regulating;
    float rpm[2];
    float average_rpm;
    float command[2];
    float p_term;
    float i_term;
    float d_term;
};

/* Reset only on a new armed trial or stop; repeated samples retain PID history. */
void velocity_init(struct velocity_control *control, int32_t left, int32_t right,
                   int64_t now_ms);
/* Raw counts use left-negative/right-positive forward signs. During the startup
 * kick, regulate=false updates speed but freezes PID history. Returns -1 and
 * zero commands for invalid target/time/data. The caller must latch a stop.
 * Calls less than 20 ms apart retain the latest output; longer intervals use
 * their actual elapsed time. The caller implements zero-target STOP. */
int velocity_update(struct velocity_control *control, int32_t left, int32_t right,
                    int64_t now_ms, float target_rpm, bool regulate);
/* Running target changes update P/output immediately between encoder samples.
 * Call only after regulation has begun; I/D history and sample time are retained.
 * Returns -1 with zero commands for invalid target/controller data. */
int velocity_retarget(struct velocity_control *control, float target_rpm);

#endif
```
